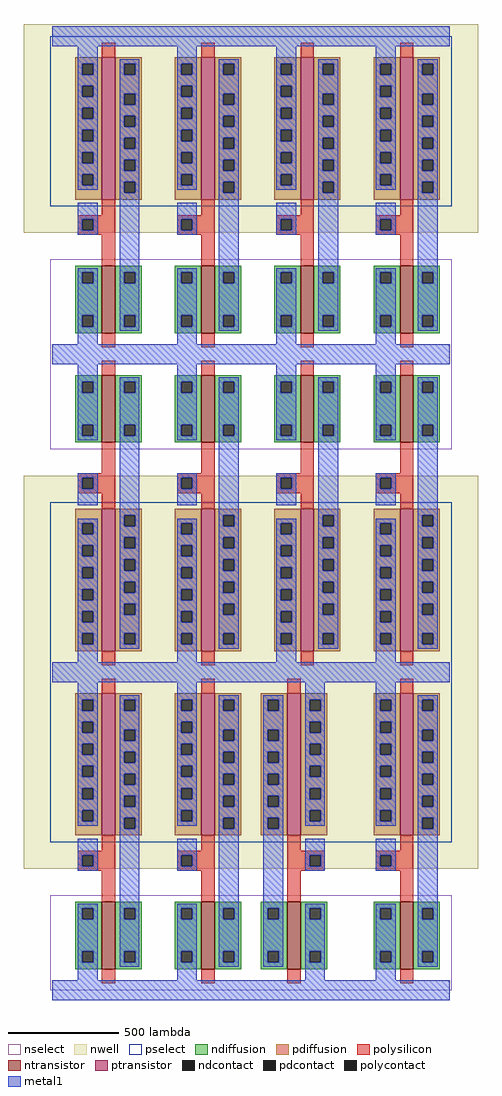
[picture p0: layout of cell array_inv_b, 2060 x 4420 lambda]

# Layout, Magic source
magic
tech amic5n
use inv_b  inv_b_0
transform 1 0 0 0 1 0
box -130 -45 580 1495
use inv_b  inv_b_1
transform 1 0 450 0 1 0
box -130 -45 580 1495
use inv_b  inv_b_5
transform 1 0 450 0 -1 2880
box -130 -45 580 1495
use inv_b  inv_b_4
transform 1 0 0 0 -1 2880
box -130 -45 580 1495
use inv_b  inv_b_2
transform -1 0 1350 0 1 0
box -130 -45 580 1495
use inv_b  inv_b_3
transform 1 0 1350 0 1 0
box -130 -45 580 1495
use inv_b  inv_b_7
transform 1 0 1350 0 -1 2880
box -130 -45 580 1495
use inv_b  inv_b_6
transform 1 0 900 0 -1 2880
box -130 -45 580 1495
use inv_b  inv_b_8
transform 1 0 0 0 1 2880
box -130 -45 580 1495
use inv_b  inv_b_9
transform 1 0 450 0 1 2880
box -130 -45 580 1495
use inv_b  inv_b_11
transform 1 0 1350 0 1 2880
box -130 -45 580 1495
use inv_b  inv_b_10
transform 1 0 900 0 1 2880
box -130 -45 580 1495
<< end >>

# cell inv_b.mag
magic
tech amic5n
<< nwell >>
rect -130 550 580 1495
<< ntransistor >>
rect 225 95 285 400
<< ptransistor >>
rect 225 700 285 1345
<< nselect >>
rect -10 0 460 430
<< pselect >>
rect -10 670 460 1440
<< ndiffusion >>
rect 105 370 225 400
rect 105 320 135 370
rect 185 320 225 370
rect 105 175 225 320
rect 105 125 135 175
rect 185 125 225 175
rect 105 95 225 125
rect 285 370 405 400
rect 285 320 325 370
rect 375 320 405 370
rect 285 175 405 320
rect 285 125 325 175
rect 375 125 405 175
rect 285 95 405 125
<< pdiffusion >>
rect 105 1315 225 1345
rect 105 1265 135 1315
rect 185 1265 225 1315
rect 105 1215 225 1265
rect 105 1165 135 1215
rect 185 1165 225 1215
rect 105 1115 225 1165
rect 105 1065 135 1115
rect 185 1065 225 1115
rect 105 1015 225 1065
rect 105 965 135 1015
rect 185 965 225 1015
rect 105 915 225 965
rect 105 865 135 915
rect 185 865 225 915
rect 105 815 225 865
rect 105 765 135 815
rect 185 765 225 815
rect 105 700 225 765
rect 285 1315 405 1345
rect 285 1265 325 1315
rect 375 1265 405 1315
rect 285 1180 405 1265
rect 285 1130 325 1180
rect 375 1130 405 1180
rect 285 1080 405 1130
rect 285 1030 325 1080
rect 375 1030 405 1080
rect 285 980 405 1030
rect 285 930 325 980
rect 375 930 405 980
rect 285 880 405 930
rect 285 830 325 880
rect 375 830 405 880
rect 285 780 405 830
rect 285 730 325 780
rect 375 730 405 780
rect 285 700 405 730
<< ndcontact >>
rect 135 320 185 370
rect 135 125 185 175
rect 325 320 375 370
rect 325 125 375 175
<< pdcontact >>
rect 135 1265 185 1315
rect 135 1165 185 1215
rect 135 1065 185 1115
rect 135 965 185 1015
rect 135 865 185 915
rect 135 765 185 815
rect 325 1265 375 1315
rect 325 1130 375 1180
rect 325 1030 375 1080
rect 325 930 375 980
rect 325 830 375 880
rect 325 730 375 780
<< polysilicon >>
rect 225 1345 285 1410
rect 225 630 285 700
rect 115 610 285 630
rect 115 560 135 610
rect 185 560 285 610
rect 115 540 285 560
rect 225 400 285 540
rect 225 30 285 95
<< polycontact >>
rect 135 560 185 610
<< metal1 >>
rect 0 1395 450 1485
rect 115 1315 205 1395
rect 115 1265 135 1315
rect 185 1265 205 1315
rect 115 1215 205 1265
rect 115 1165 135 1215
rect 185 1165 205 1215
rect 115 1115 205 1165
rect 115 1065 135 1115
rect 185 1065 205 1115
rect 115 1015 205 1065
rect 115 965 135 1015
rect 185 965 205 1015
rect 115 915 205 965
rect 115 865 135 915
rect 185 865 205 915
rect 115 815 205 865
rect 115 765 135 815
rect 185 765 205 815
rect 115 745 205 765
rect 305 1315 395 1335
rect 305 1265 325 1315
rect 375 1265 395 1315
rect 305 1180 395 1265
rect 305 1130 325 1180
rect 375 1130 395 1180
rect 305 1080 395 1130
rect 305 1030 325 1080
rect 375 1030 395 1080
rect 305 980 395 1030
rect 305 930 325 980
rect 375 930 395 980
rect 305 880 395 930
rect 305 830 325 880
rect 375 830 395 880
rect 305 780 395 830
rect 305 730 325 780
rect 375 730 395 780
rect 115 610 205 685
rect 115 560 135 610
rect 185 560 205 610
rect 115 540 205 560
rect 115 370 205 390
rect 115 320 135 370
rect 185 320 205 370
rect 115 175 205 320
rect 115 125 135 175
rect 185 125 205 175
rect 115 45 205 125
rect 305 370 395 730
rect 305 320 325 370
rect 375 320 395 370
rect 305 175 395 320
rect 305 125 325 175
rect 375 125 395 175
rect 305 105 395 125
rect 0 -45 450 45
<< labels >>
flabel metal1 s 105 -25 105 -25 2 FreeSans 400 0 0 0 vss
port 12 ne
flabel metal1 s 95 1415 95 1415 2 FreeSans 400 0 0 0 vdd
port 11 ne
flabel nwell 395 600 395 600 2 FreeSans 400 0 0 0 vdd
flabel metal1 s 335 470 335 470 2 FreeSans 400 0 0 0 z
port 20 ne
flabel metal1 s 135 550 135 550 2 FreeSans 400 0 0 0 a
port 7 ne
<< end >>
